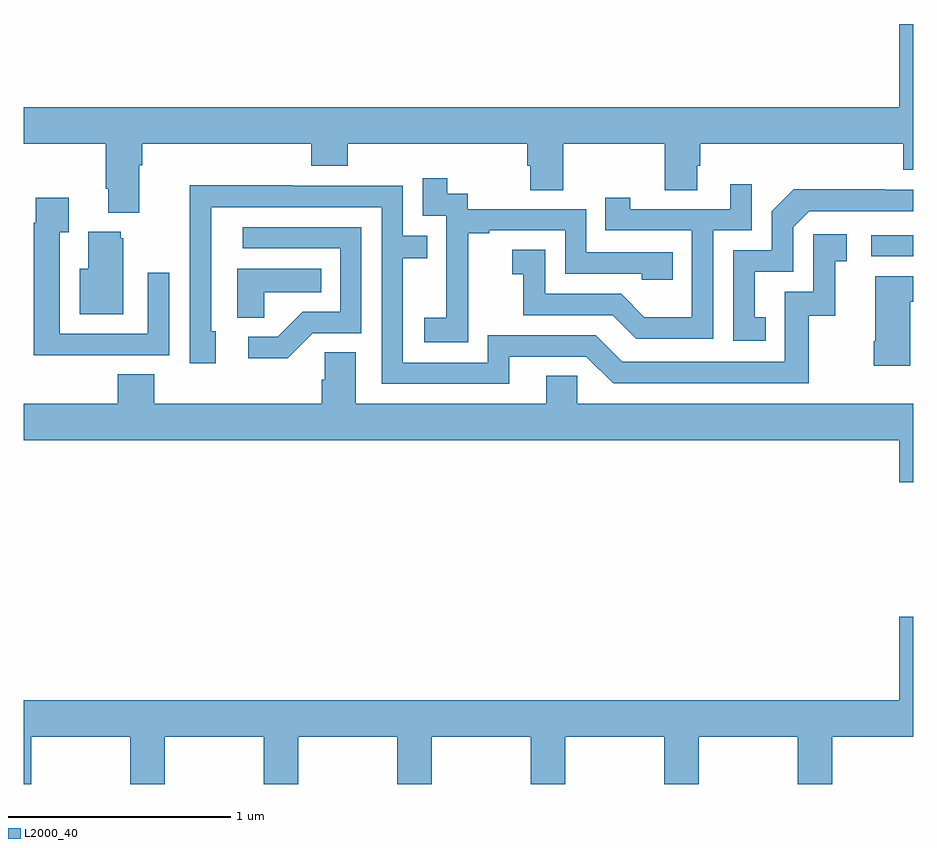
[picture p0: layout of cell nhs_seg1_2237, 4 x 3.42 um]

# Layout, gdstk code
import gdstk
lib = gdstk.Library(unit=1e-6, precision=1e-09)
def R(c, l, rs):  # rectangles x0, y0, x1, y1
    for r in rs: c.add(gdstk.rectangle(r[:2], r[2:], *l))
def P(c, l, *ps):  # polygons
    for p in ps: c.add(gdstk.Polygon(p, *l))
L2000_40 = (2000, 40)

nhs_seg1_2237 = lib.new_cell('nhs_seg1_2237')
R(nhs_seg1_2237, L2000_40, [(236.811,540.57,237,540.666)])
P(nhs_seg1_2237, L2000_40, [(233.521,540.98),(233.534,540.98),(233.534,541.076),(234.293,541.076),(234.293,540.977),(234.458,540.977),(234.458,541.076),(235.265,541.076),(235.265,540.978),(235.277,540.978),(235.277,540.868),(235.425,540.868),(235.425,541.076),(235.882,541.076),(235.882,540.868),(236.029,540.868),(236.029,540.978),(236.042,540.978),(236.042,541.076),(236.954,541.076),(236.954,540.959),(237,540.959),(237,541.615),(236.936,541.615),(236.936,541.24),(233,541.24),(233,541.076),(233.369,541.076),(233.369,540.874),(233.381,540.874),(233.381,540.767),(233.521,540.767)],
  [(234.999,540.391),(234.998,540.391),(234.998,540.675),(235.093,540.675),(235.093,540.687),(235.434,540.687),(235.434,540.492),(235.779,540.492),(235.779,540.465),(235.919,540.465),(235.919,540.588),(235.53,540.588),(235.53,540.783),(234.996,540.783),(234.996,540.852),(234.904,540.852),(234.904,540.922),(234.795,540.922),(234.795,540.753),(234.9,540.753),(234.9,540.524),(234.899,540.524),(234.899,540.295),(234.801,540.295),(234.801,540.185),(234.999,540.185)],
  [(236.1,540.687),(236.274,540.687),(236.274,540.895),(236.177,540.895),(236.177,540.783),(235.726,540.783),(235.726,540.835),(235.615,540.835),(235.615,540.687),(236.004,540.687),(236.004,540.298),(235.79,540.298),(235.686,540.402),(235.344,540.402),(235.344,540.601),(235.197,540.601),(235.197,540.491),(235.246,540.491),(235.246,540.306),(235.649,540.306),(235.754,540.201),(236.1,540.201)],
  [(235.183,540.12),(235.53,540.12),(235.65,540),(236.53,540),(236.53,540.303),(236.648,540.303),(236.648,540.549),(236.701,540.549),(236.701,540.67),(236.55,540.67),(236.55,540.411),(236.421,540.411),(236.421,540.096),(235.692,540.096),(235.572,540.216),(235.086,540.216),(235.086,540.093),(234.705,540.093),(234.705,540.562),(234.815,540.562),(234.815,540.663),(234.705,540.663),(234.705,540.888),(234.209,540.888),(234.209,540.89),(233.746,540.89),(233.746,540.583),(233.748,540.583),(233.748,540.09),(233.863,540.09),(233.863,540.234),(233.844,540.234),(233.844,540.792),(234.609,540.792),(234.609,539.997),(235.183,539.997)],
  [(236.336,540.297),(236.287,540.297),(236.287,540.501),(236.46,540.501),(236.46,540.702),(236.532,540.774),(237,540.774),(237,540.87),(236.87,540.87),(236.87,540.872),(236.462,540.872),(236.364,540.774),(236.364,540.597),(236.19,540.597),(236.19,540.192),(236.336,540.192)],
  [(233.339,540.126),(233.655,540.126),(233.655,540.496),(233.559,540.496),(233.559,540.222),(233.163,540.222),(233.163,540.679),(233.203,540.679),(233.203,540.835),(233.055,540.835),(233.055,540.722),(233.047,540.722),(233.047,540.125),(233.339,540.125)],
  [(234.3,540.225),(234.519,540.225),(234.519,540.702),(233.985,540.702),(233.985,540.606),(234.423,540.606),(234.423,540.321),(234.254,540.321),(234.143,540.21),(234.009,540.21),(234.009,540.113),(234.187,540.113)],
  [(233.449,540.651),(233.438,540.651),(233.438,540.682),(233.291,540.682),(233.291,540.514),(233.252,540.514),(233.252,540.311),(233.449,540.311)],
  [(234.081,540.41),(234.338,540.41),(234.338,540.514),(233.96,540.514),(233.96,540.295),(234.081,540.295)],
  [(236.986,540.367),(237,540.367),(237,540.481),(236.828,540.481),(236.828,540.19),(236.821,540.19),(236.821,540.078),(236.986,540.078)],
  [(237,539.908),(235.488,539.908),(235.488,540.035),(235.349,540.035),(235.349,539.908),(234.493,539.908),(234.493,540.14),(234.354,540.14),(234.354,540.017),(234.341,540.017),(234.341,539.908),(233.588,539.908),(233.588,540.041),(233.423,540.041),(233.423,539.908),(233,539.908),(233,539.744),(236.936,539.744),(236.936,539.556),(237,539.556)],
  [(233.034,538.412),(233.479,538.412),(233.479,538.199),(233.634,538.199),(233.634,538.412),(234.079,538.412),(234.079,538.199),(234.234,538.199),(234.234,538.412),(234.679,538.412),(234.679,538.199),(234.834,538.199),(234.834,538.412),(235.279,538.412),(235.279,538.199),(235.434,538.199),(235.434,538.412),(235.879,538.412),(235.879,538.199),(236.034,538.199),(236.034,538.412),(236.479,538.412),(236.479,538.199),(236.634,538.199),(236.634,538.412),(237,538.412),(237,538.951),(236.936,538.951),(236.936,538.576),(233,538.576),(233,538.199),(233.034,538.199)])

lib.write_gds('nhs_seg1_2237.gds')
